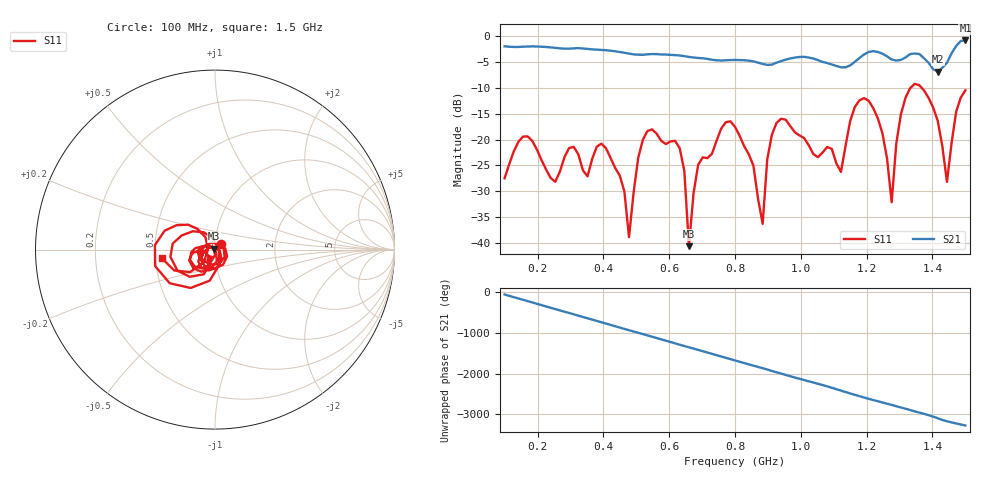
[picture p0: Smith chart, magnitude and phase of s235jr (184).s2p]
! NanoVNA-App
! Date: 2025-09-25 15:05:36
! Start: 100MHz Stop: 1,5GHz Points: 101
! S-Parameter data: F S11 S21 S12 S22
# Hz S RI R 50
!  Frequency  S11_Real  S11_Imag  S21_Real  S21_Imag  S12_Real  S12_Imag  S22_Real  S22_Imag
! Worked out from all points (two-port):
!   101 points, 100 MHz to 1.5 GHz, reference 50 ohm
!   highest |S21| = -0.83 dB at 1.5 GHz (marker M1); lowest = -6.9 dB at 1.416 GHz (marker M2)
!   |S21| within 3 dB of the highest: start of sweep to 642.2 MHz; 1.186 GHz to 1.26 GHz (74.08 MHz wide, 6.06 % of centre) (the widest 2 of 4)
!   lowest |S11| = -40.6 dB at 660 MHz (marker M3), VSWR 1.02, Z = 49.3 + j0.569 ohm
!   |S11| at or under -10 dB: start of sweep to 1.333 GHz; 1.367 GHz to end of sweep
!   S12 and S22 are empty: the file has one direction only
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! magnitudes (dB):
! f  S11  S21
! 100 MHz  -27.5  -2.0
! 156 MHz  -19.4  -2.0
! 338 MHz  -25.9  -2.4
! 408 MHz  -21.7  -2.7
! 478 MHz  -38.9  -3.4
! 520 MHz  -20.0  -3.6
! 576 MHz  -20.3  -3.5
! 632 MHz  -21.7  -3.7
! 660 MHz  -40.6  -4.0
! 688 MHz  -24.9  -4.2
! 800 MHz  -17.5  -4.6
! 884 MHz  -36.3  -5.4
! 926 MHz  -16.8  -5.1
! 1.038 GHz  -22.8  -4.3
! 1.122 GHz  -26.2  -6.0
! 1.206 GHz  -12.5  -3.1
! 1.276 GHz  -32.1  -4.5
! 1.304 GHz  -15.1  -4.6
! 1.332 GHz  -10.1  -3.5
! 1.416 GHz  -16.4  -6.9
! 1.444 GHz  -28.2  -5.2
! 1.5 GHz  -10.5  -0.8
